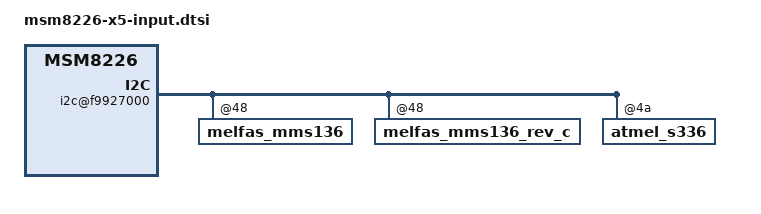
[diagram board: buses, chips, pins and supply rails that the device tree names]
/* Copyright (c) 2013, LGE Electronics. All rights reserved.
 *
 * This program is free software; you can redistribute it and/or modify
 * it under the terms of the GNU General Public License version 2 and
 * only version 2 as published by the Free Software Foundation.
 *
 * This program is distributed in the hope that it will be useful,
 * but WITHOUT ANY WARRANTY; without even the implied warranty of
 * MERCHANTABILITY or FITNESS FOR A PARTICULAR PURPOSE.  See the
 * GNU General Public License for more details.
 */

&soc {
	i2c@f9927000 { /* BLSP1 QUP5 */
		melfas_mms136@48 {
			melfas,product = "S2A47A";
			melfas,fw-image-name = "melfas/x5_spr_us/x5_spr_us_rev_0_v102.mfsb";
			melfas,panel-spec-name = "melfas/x5_spr_us/x5_spr_us_limit.txt";
			revision = "rev_0...rev_b";
			melfas,button-map = <158 139>;
			status = "ok";
		};

		melfas_mms136_rev_c@48 {
			melfas,product = "S2A47A";
			melfas,fw-image-name = "melfas/x5_spr_us/x5_spr_us_rev_0_v102.mfsb";
			melfas,panel-spec-name = "melfas/x5_spr_us/x5_spr_us_limit.txt";
			vdd-supply = <0>;
			melfas,ce = <60>;
			revision = "rev_c";
			melfas,button-map = <158 139>;
			status ="ok";
		};

		lge_touch@48 {
			lge,product = "S2A47A";
			lge,fw_image = "melfas/x5_spr_us/x5_spr_us_rev_0_v102.mfsb";
			lge,panel_spec = "melfas/x5_spr_us/x5_spr_us_limit.txt";
			revision = "rev_0...rev_c";
			status = "disable";
			vdd_type0 = <2>;
			vdd_type1 = <2>;
			button_name = <158 139>;
		};

		atmel_s336@4a {
			revision = "rev_d...";
			status = "ok";
			atmel,t15_key_array = <0 12 1 12>;
			atmel,fw_name = "atmel/S2A47P1_2_07.fw";
			atmel,panel_check = <0>;
			atmel,ghost_detection_enable = <1>;
			atmel,butt_check_enable = <1>;
		};

		lge_ts_misc {
			revision = "rev_c...";
			vdd_on = <1>;
			vio_l19_on = <1>;
			vio_lvs1_on = <1>;
			irq_wake = <0>;
			status ="ok";
		};
	};

};
